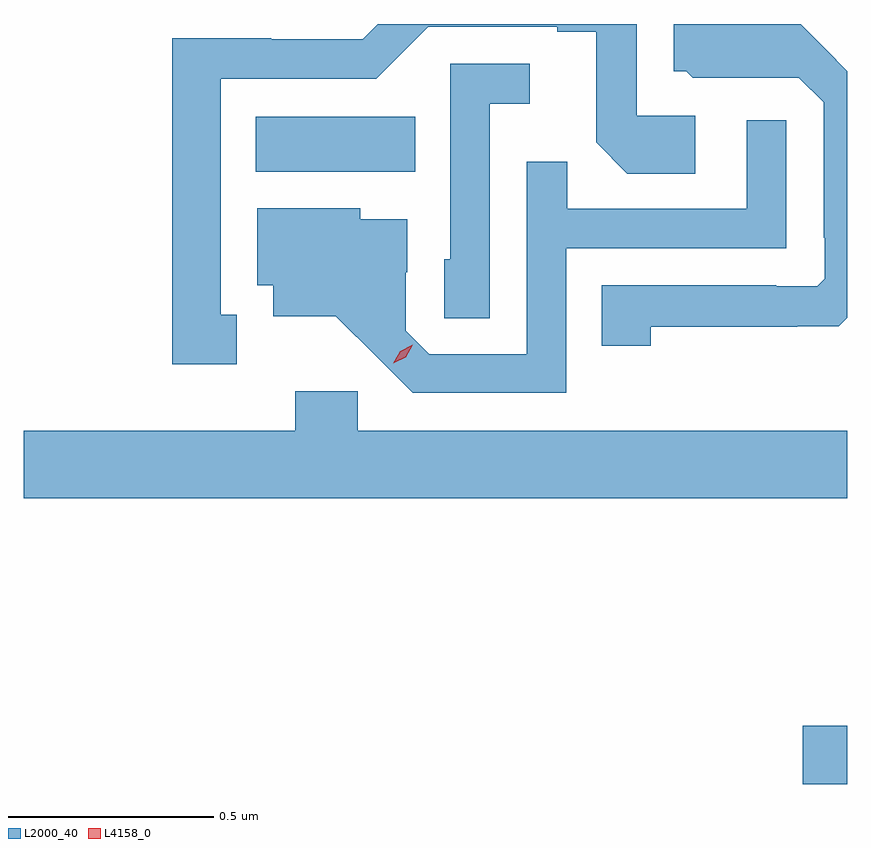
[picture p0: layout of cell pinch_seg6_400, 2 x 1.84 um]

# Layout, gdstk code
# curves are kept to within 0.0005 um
import gdstk
lib = gdstk.Library(unit=1e-6, precision=1e-09)
def R(c, l, rs):  # rectangles x0, y0, x1, y1
    for r in rs: c.add(gdstk.rectangle(r[:2], r[2:], *l))
def P(c, l, *ps):  # polygons
    for p in ps: c.add(gdstk.Polygon(p, *l))
L2000_40 = (2000, 40)
L4158_0 = (4158, 0)

pinch_seg6_400 = lib.new_cell('pinch_seg6_400')
R(pinch_seg6_400, L2000_40, [(685.482,931.99,685.591,932.132), (684.155,933.476,684.542,933.61)])
P(pinch_seg6_400, L2000_40, [(684.109,933.129),(684.07,933.129),(684.07,933.702),(684.447,933.702),(684.573,933.828),(684.887,933.828),(684.887,933.816),(684.981,933.816),(684.981,933.548),(685.057,933.472),(685.222,933.472),(685.222,933.612),(685.08,933.612),(685.08,933.835),(684.451,933.835),(684.414,933.798),(684.192,933.798),(684.192,933.8),(683.952,933.8),(683.952,933.009),(684.109,933.009)],
  [(685.113,933.1),(685.469,933.1),(685.469,933.101),(685.57,933.101),(685.591,933.122),(685.591,933.72),(685.478,933.835),(685.169,933.835),(685.169,933.72),(685.2,933.72),(685.216,933.704),(685.35,933.704),(685.35,933.705),(685.473,933.705),(685.533,933.645),(685.533,933.316),(685.536,933.316),(685.536,933.216),(685.518,933.198),(685.418,933.198),(685.418,933.201),(684.994,933.201),(684.994,933.054),(685.113,933.054)],
  [(684.723,933.641),(684.82,933.641),(684.82,933.738),(684.627,933.738),(684.627,933.264),(684.612,933.264),(684.612,933.121),(684.723,933.121)],
  [(684.909,933.291),(685.443,933.291),(685.443,933.601),(685.347,933.601),(685.347,933.387),(684.911,933.387),(684.911,933.5),(684.813,933.5),(684.813,933.033),(684.576,933.033),(684.519,933.09),(684.519,933.232),(684.523,933.232),(684.523,933.361),(684.408,933.361),(684.408,933.388),(684.158,933.388),(684.158,933.201),(684.197,933.201),(684.197,933.125),(684.349,933.125),(684.536,932.94),(684.909,932.94)],
  [(685.591,932.848),(684.402,932.848),(684.402,932.944),(684.251,932.944),(684.251,932.848),(683.591,932.848),(683.591,932.684),(685.591,932.684)])
P(pinch_seg6_400, L4158_0, [(684.488,933.011),(684.488,933.011),(684.505,933.041),(684.536,933.056),(684.536,933.056),(684.536,933.056),(684.519,933.026),(684.489,933.011)])

lib.write_gds('pinch_seg6_400.gds')
